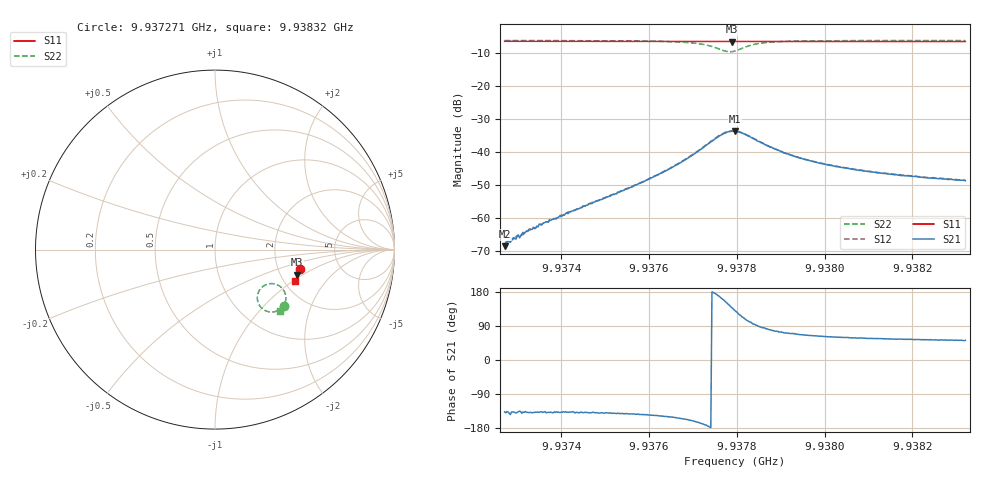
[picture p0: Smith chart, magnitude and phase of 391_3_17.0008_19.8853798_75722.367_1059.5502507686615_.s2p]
#  HZ  S  RI  R  50.00
! Rohde & Schwarz Vector Network Analyzer
! Rohde-Schwarz,ZNB20-2Port,1311601062101988,3.16
! Created: UTC 3/20/2024, 11:09:39 PM
! freq[Hz]  re:S11  im:S11  re:S21  im:S21  re:S12  im:S12  re:S22  im:S22
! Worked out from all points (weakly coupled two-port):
!   401 points, 9.937271 GHz to 9.93832 GHz, reference 50 ohm
!   highest |S21| = -33.65 dB at 9.937796 GHz (marker M1); lowest = -68.7 dB at 9.937271 GHz (marker M2)
!   lowest |S11| = -6.4 dB at 9.937788 GHz (marker M3), VSWR 2.84, Z = 123 - j44.5 ohm
!   |S11| at or under -10 dB: nowhere
!   |S22| runs from -9.5 to -6.1 dB; largest |S21 - S12| = 0.0008
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9.9372713e9  0.4719 -0.1064  -0.000269 -0.000252  -0.000288 -0.000255  0.3859 -0.3148
9.9372844e9  0.4716 -0.1074  -0.000342 -0.000247  -0.000303 -0.000308  0.385 -0.3157
9.9373001e9  0.4712 -0.1084  -0.000397 -0.000358  -0.000416 -0.00034  0.3839 -0.3169
9.9373159e9  0.4709 -0.1095  -0.000428 -0.000382  -0.000413 -0.000403  0.3826 -0.318
9.9373237e9  0.4707 -0.11  -0.00046 -0.000411  -0.000484 -0.000391  0.3819 -0.3186
9.9373552e9  0.4702 -0.112  -0.000573 -0.000544  -0.000577 -0.000512  0.3794 -0.3209
9.937447e9  0.4681 -0.1181  -0.00106 -0.000946  -0.00108 -0.000964  0.3708 -0.3281
9.9375572e9  0.4657 -0.1257  -0.00226 -0.00176  -0.00233 -0.00172  0.355 -0.3381
9.9376228e9  0.464 -0.1301  -0.00388 -0.00247  -0.00395 -0.00249  0.3386 -0.3448
9.9376752e9  0.4625 -0.1335  -0.00641 -0.00304  -0.00658 -0.00299  0.3147 -0.348
9.9377277e9  0.4607 -0.1371  -0.0122 -0.00188  -0.0123 -0.00171  0.2692 -0.3335
9.9377644e9  0.459 -0.1386  -0.0174 0.00513  -0.0176 0.00561  0.2357 -0.2716
9.9377775e9  0.4585 -0.1389  -0.0174 0.00993  -0.0174 0.0105  0.2429 -0.2352
9.937788e9  0.4584 -0.1391  -0.0156 0.0137  -0.0155 0.0142  0.2623 -0.2093
9.9377959e9  0.4585 -0.1393  -0.0134 0.0158  -0.013 0.0164  0.2828 -0.1961
9.9378169e9  0.4587 -0.1402  -0.00647 0.0177  -0.00599 0.0179  0.339 -0.1932
9.9378536e9  0.4588 -0.1429  0.000722 0.0142  0.000922 0.0141  0.3864 -0.2334
9.9379034e9  0.4579 -0.1467  0.00294 0.00955  0.00311 0.00956  0.3946 -0.2742
9.9379716e9  0.4563 -0.1514  0.00314 0.00649  0.00325 0.0065  0.3887 -0.3008
9.9380556e9  0.4541 -0.1571  0.00288 0.00479  0.00301 0.0048  0.3801 -0.3178
9.9381474e9  0.4517 -0.163  0.00263 0.00381  0.00268 0.00381  0.3719 -0.3292
9.9383205e9  0.4469 -0.1739  0.00226 0.00288  0.00239 0.00288  0.3594 -0.3436
